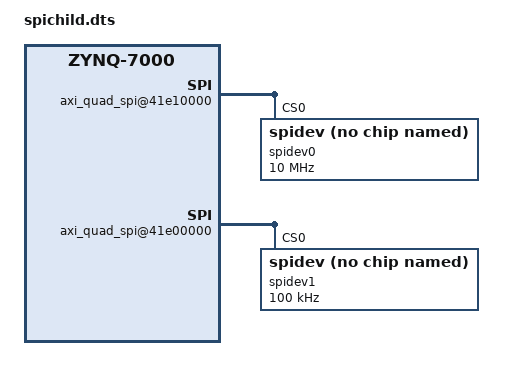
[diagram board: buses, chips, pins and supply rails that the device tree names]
/dts-v1/;
/plugin/;

/{
	compatible = "digilent,zynq-artyz7", "xlnx,zynq-7000";
	part-number = "Arty Z7 I2C and SPI";
	version = "1.0";
	
	fragment@0 {
		target-path = "/axi_quad_spi@41e10000"; 
		__overlay__{	
            spidev0: spidev@0 {
				#address-cells = <0x00000001>;
        		#size-cells = <0x00000000>;
				compatible = "linux,spidev";
				reg = <0x0>;
				spi-max-frequency = <10000000>;
			};
		};	
	};

	fragment@1 {
		target-path = "/axi_quad_spi@41e00000";
		__overlay__{	
			spidev1: spidev@0 {
					#address-cells = <0x00000001>;
        			#size-cells = <0x00000000>;
					compatible = "linux,spidev";
					reg = <0x0>;
					spi-max-frequency = <100000>;
				};		
		};	
	};
};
